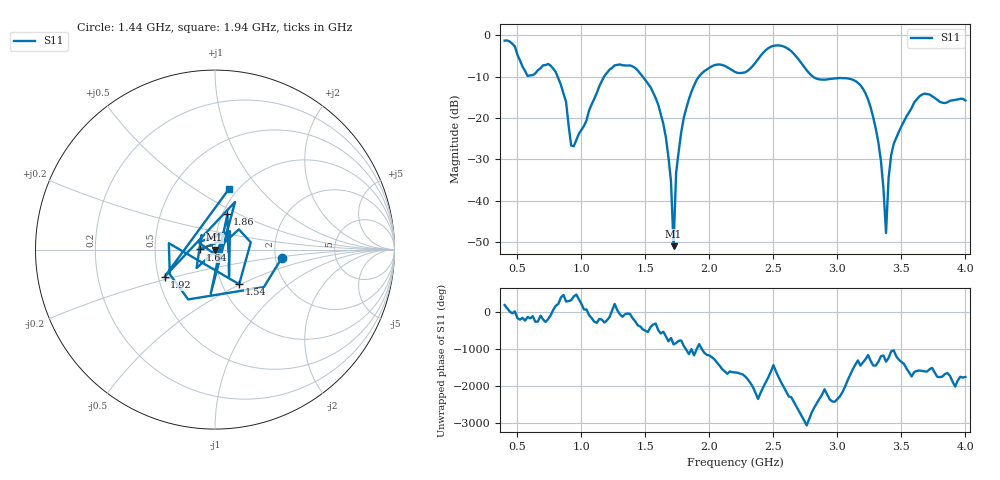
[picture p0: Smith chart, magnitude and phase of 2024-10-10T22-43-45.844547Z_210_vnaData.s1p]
! Created with skrf (http://scikit-rf.org).
# Hz S RI R 50.0
!freq ReS11 ImS11
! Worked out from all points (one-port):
!   181 points, 400 MHz to 4 GHz, reference 50 ohm
!   lowest |S11| = -51.0 dB at 1.72 GHz (marker M1), VSWR 1.01, Z = 49.7 - j0.0881 ohm
!   |S11| at or under -10 dB: 813.9 MHz to 1.177 GHz (363.4 MHz wide, 36.5 % of centre); 1.479 GHz to 1.918 GHz (439.2 MHz wide, 25.9 % of centre); 2.809 GHz to end of sweep
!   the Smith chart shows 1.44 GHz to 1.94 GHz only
!   S11 on the Smith chart (normalised r, x): 1.44 GHz: 2.17, -0.23; 1.54 GHz: 1.20, -0.49; 1.64 GHz: 0.84, +0.00; 1.86 GHz: 1.06, +0.43; 1.92 GHz: 0.54, -0.18; 1.94 GHz: 0.91, +0.70
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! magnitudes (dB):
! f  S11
! 400 MHz  -1.3
! 580 MHz  -9.9
! 760 MHz  -7.4
! 860 MHz  -14.1
! 940 MHz  -26.9
! 1.18 GHz  -9.8
! 1.3 GHz  -7.1
! 1.44 GHz  -8.5
! 1.54 GHz  -12.6
! 1.64 GHz  -21.4
! 1.7 GHz  -35.4
! 1.72 GHz  -51.0
! 1.74 GHz  -33.3
! 1.76 GHz  -28.1
! 1.86 GHz  -13.6
! 1.92 GHz  -9.9
! 1.94 GHz  -9.2
! 2.2 GHz  -8.9
! 2.66 GHz  -4.5
! 3.1 GHz  -10.6
! 3.28 GHz  -19.9
! 3.34 GHz  -30.4
! 3.38 GHz  -47.8
! 3.4 GHz  -34.5
! 3.42 GHz  -29.0
! 3.56 GHz  -18.6
! 3.68 GHz  -14.1
! 4 GHz  -15.8
